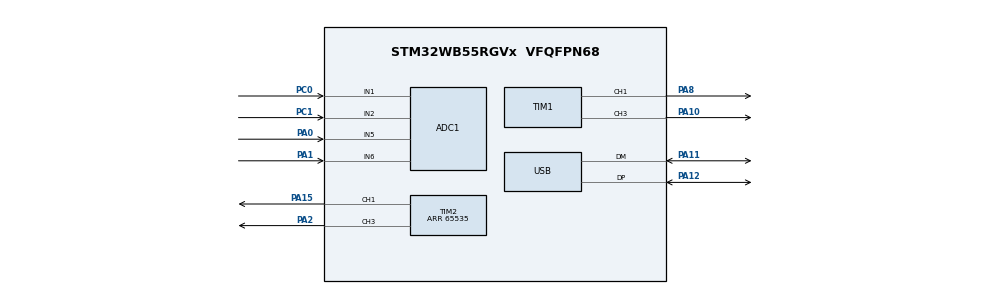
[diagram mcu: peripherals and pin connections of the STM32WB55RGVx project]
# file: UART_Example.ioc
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ADC1.Channel-1\#ChannelRegularConversion=ADC_CHANNEL_1
ADC1.Channel-2\#ChannelRegularConversion=ADC_CHANNEL_2
ADC1.Channel-3\#ChannelRegularConversion=ADC_CHANNEL_5
ADC1.Channel-4\#ChannelRegularConversion=ADC_CHANNEL_6
ADC1.ContinuousConvMode=DISABLE
ADC1.DataAlign=ADC_DATAALIGN_RIGHT
ADC1.NbrOfConversion=4
ADC1.NbrOfConversionFlag=1
ADC1.OffsetNumber-1\#ChannelRegularConversion=ADC_OFFSET_NONE
ADC1.OffsetNumber-2\#ChannelRegularConversion=ADC_OFFSET_NONE
ADC1.OffsetNumber-3\#ChannelRegularConversion=ADC_OFFSET_NONE
ADC1.OffsetNumber-4\#ChannelRegularConversion=ADC_OFFSET_NONE
ADC1.Rank-1\#ChannelRegularConversion=1
ADC1.Rank-2\#ChannelRegularConversion=2
ADC1.Rank-3\#ChannelRegularConversion=3
ADC1.Rank-4\#ChannelRegularConversion=4
ADC1.SamplingTime-1\#ChannelRegularConversion=ADC_SAMPLETIME_640CYCLES_5
ADC1.SamplingTime-2\#ChannelRegularConversion=ADC_SAMPLETIME_640CYCLES_5
ADC1.SamplingTime-3\#ChannelRegularConversion=ADC_SAMPLETIME_640CYCLES_5
ADC1.SamplingTime-4\#ChannelRegularConversion=ADC_SAMPLETIME_640CYCLES_5
ADC1.master=1
Mcu.Family=STM32WB
Mcu.Name=STM32WB55RGVx
Mcu.Package=VFQFPN68
NVIC.ADC1_IRQn=true\:1\:0\:true\:false\:true\:true\:true\:true
NVIC.PriorityGroup=NVIC_PRIORITYGROUP_4
NVIC.RCC_IRQn=true\:0\:0\:false\:false\:true\:true\:false\:true
NVIC.USB_HP_IRQn=true\:0\:0\:false\:false\:true\:true\:true\:true
NVIC.USB_LP_IRQn=true\:0\:0\:false\:false\:true\:true\:true\:true
OSC_IN.Mode=HSE-External-Oscillator
OSC_IN.Signal=RCC_OSC_IN
OSC_OUT.Mode=HSE-External-Oscillator
OSC_OUT.Signal=RCC_OSC_OUT
PA0.Signal=ADCx_IN5
PA1.Signal=ADCx_IN6
PA10.Signal=S_TIM1_CH3
PA11.Mode=Device
PA11.Signal=USB_DM
PA12.Mode=Device
PA12.Signal=USB_DP
PA15.Signal=S_TIM2_CH1
PA2.Signal=S_TIM2_CH3
PA8.Signal=S_TIM1_CH1
PC0.Signal=ADCx_IN1
PC1.Signal=ADCx_IN2
ProjectManager.HeapSize=0x200
ProjectManager.StackSize=0x400
ProjectManager.TargetToolchain=STM32CubeIDE
RCC.ADCFreq_Value=48000000
RCC.AHB2CLKDivider=RCC_SYSCLK_DIV2
RCC.AHBFreq_Value=64000000
RCC.APB1Freq_Value=64000000
RCC.APB1TimFreq_Value=64000000
RCC.APB2Freq_Value=64000000
RCC.APB2TimFreq_Value=64000000
RCC.APB3Freq_Value=4000000
RCC.Cortex2_Div=SYSTICK_CLKSOURCE_HCLK_DIV8
RCC.CortexFreq_Value=64000000
RCC.HCLKFreq_Value=64000000
RCC.HSE_VALUE=8000000
RCC.HSI48_VALUE=48000000
RCC.HSI_VALUE=16000000
RCC.LSE_VALUE=32768
RCC.PLLN=32
RCC.PLLSAI1N=24
RCC.SMPSCLockSelection=RCC_SMPSCLKSOURCE_HSE
RCC.SMPSDivider=1
RCC.SYSCLKFreq_VALUE=64000000
RCC.SYSCLKSource=RCC_SYSCLKSOURCE_PLLCLK
RCC.USBFreq_Value=48000000
RCC.VCOOutputFreq_Value=128000000
SH.ADCx_IN1.0=ADC1_IN1,IN1-Single-Ended
SH.ADCx_IN2.0=ADC1_IN2,IN2-Single-Ended
SH.ADCx_IN5.0=ADC1_IN5,IN5-Single-Ended
SH.ADCx_IN6.0=ADC1_IN6,IN6-Single-Ended
SH.S_TIM1_CH1.0=TIM1_CH1,PWM Generation1 CH1
SH.S_TIM1_CH3.0=TIM1_CH3,PWM Generation3 CH3
SH.S_TIM2_CH1.0=TIM2_CH1,PWM Generation1 CH1
SH.S_TIM2_CH3.0=TIM2_CH3,PWM Generation3 CH3
TIM1.Channel-PWM\ Generation1\ CH1=TIM_CHANNEL_1
TIM1.Channel-PWM\ Generation3\ CH3=TIM_CHANNEL_3
TIM2.Channel-PWM\ Generation1\ CH1=TIM_CHANNEL_1
TIM2.Channel-PWM\ Generation3\ CH3=TIM_CHANNEL_3
TIM2.Period=65535
USB_DEVICE.CLASS_NAME_FS=CDC
USB_DEVICE.VirtualMode=Cdc
USB_DEVICE.VirtualModeFS=Cdc_FS
VP_MEMORYMAP_VS_MEMORYMAP.Mode=CurAppReg
VP_TIM1_VS_ClockSourceINT.Mode=Internal
VP_TIM2_VS_ClockSourceINT.Mode=Internal
VP_USB_DEVICE_VS_USB_DEVICE_CDC_FS.Mode=CDC_FS
board=custom

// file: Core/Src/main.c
/* USER CODE BEGIN Header */
/**
  ******************************************************************************
  * @file           : main.c
  * @brief          : Main program body
  ******************************************************************************
  * @attention
  *
  * Copyright (c) 2025 STMicroelectronics.
  * All rights reserved.
  *
  * This software is licensed under terms that can be found in the LICENSE file
  * in the root directory of this software component.
  * If no LICENSE file comes with this software, it is provided AS-IS.
  *
  ******************************************************************************
  */
/* USER CODE END Header */
#include "main.h"
#include "usb_device.h"

/* USER CODE BEGIN Includes */

#include "usbd_cdc_if.h"
/* USER CODE END Includes */

ADC_HandleTypeDef hadc1;

TIM_HandleTypeDef htim1;
TIM_HandleTypeDef htim2;

/* USER CODE BEGIN PV */
uint16_t force= 0;
uint16_t adc_ch0, adc_ch1, adc_ch2, adc_ch3;
/* USER CODE END PV */

void SystemClock_Config(void);
void PeriphCommonClock_Config(void);
static void MX_GPIO_Init(void);
static void MX_TIM1_Init(void);
static void MX_ADC1_Init(void);
static void MX_TIM2_Init(void);

/* USER CODE BEGIN 0 */
uint8_t ConvCompleted = 0;
void HAL_ADC_ConvCpltCallback(ADC_HandleTypeDef *hadc)
{
	ConvCompleted = 1;
}
/* USER CODE END 0 */

int main(void)
{

  /* MCU Configuration--------------------------------------------------------*/

  /* Reset of all peripherals, Initializes the Flash interface and the Systick. */
  HAL_Init();

  /* Configure the system clock */
  SystemClock_Config();

  /* Configure the peripherals common clocks */
  PeriphCommonClock_Config();

  /* Initialize all configured peripherals */
  MX_GPIO_Init();
  MX_USB_Device_Init();
  MX_TIM1_Init();
  MX_ADC1_Init();
  MX_TIM2_Init();
  /* USER CODE BEGIN 2 */
  HAL_TIM_PWM_Start(&htim1, TIM_CHANNEL_1);
  HAL_TIM_PWM_Start(&htim1, TIM_CHANNEL_3);
  HAL_TIM_PWM_Start(&htim2, TIM_CHANNEL_1);
  HAL_TIM_PWM_Start(&htim2, TIM_CHANNEL_3);

  /* USER CODE END 2 */

  /* Infinite loop */
  while (1)
  {

    /* USER CODE BEGIN 3 */
	  // Fake sensor value 0–19
//		uint16_t sensor_value = rand() % 20;

	  HAL_ADC_Start(&hadc1);

	      // CH0 (PC0)
	      HAL_ADC_PollForConversion(&hadc1, HAL_MAX_DELAY);
	      adc_ch0 = HAL_ADC_GetValue(&hadc1);

	      // CH1 (PC1)
	      HAL_ADC_PollForConversion(&hadc1, HAL_MAX_DELAY);
	      adc_ch1 = HAL_ADC_GetValue(&hadc1);

	      // CH2 (PA0)
	      HAL_ADC_PollForConversion(&hadc1, HAL_MAX_DELAY);
	      adc_ch2 = HAL_ADC_GetValue(&hadc1);

	      // CH3 (PA1)
	      HAL_ADC_PollForConversion(&hadc1, HAL_MAX_DELAY);
	      adc_ch3 = HAL_ADC_GetValue(&hadc1);

	      HAL_ADC_Stop(&hadc1);
	      char buffer[100];
	          int len = sprintf(buffer,
	                            "C0=%u  C1=%u  C2=%u  C3=%u\r\n",
	                            adc_ch0, adc_ch1, adc_ch2, adc_ch3);
	          CDC_Transmit_FS((uint8_t*)buffer, len);

	          // Map one channel (example: PC0 → your LED)
	          uint16_t pwm_value = (uint16_t)(((float)(adc_ch0 - 2000) / (4095.0f - 2000.0f)) * 65535.0f);
	          uint16_t pwm_value1 = (uint16_t)(((float)(adc_ch1 - 2000) / (4095.0f - 2000.0f)) * 65535.0f);
	          uint16_t pwm_value2 = (uint16_t)(((float)(adc_ch2 - 2000) / (4095.0f - 2000.0f)) * 65535.0f);
	          uint16_t pwm_value3 = (uint16_t)(((float)(adc_ch3 - 2000) / (4095.0f - 2000.0f)) * 65535.0f);
	          __HAL_TIM_SET_COMPARE(&htim1, TIM_CHANNEL_1, pwm_value);
	          __HAL_TIM_SET_COMPARE(&htim1, TIM_CHANNEL_3, pwm_value1);
	          __HAL_TIM_SET_COMPARE(&htim2, TIM_CHANNEL_1, pwm_value2);
	          __HAL_TIM_SET_COMPARE(&htim2, TIM_CHANNEL_3, pwm_value3);

	          HAL_Delay(200);

//	 HAL_Delay(100);
//	  HAL_ADC_Start(&hadc1);
//	  HAL_ADC_PollForConversion(&hadc1, HAL_MAX_DELAY);
//	  force = HAL_ADC_GetValue(&hadc1);
//	  // Send via USB
//	  char buffer[20];
//	  int len = sprintf(buffer, "%u\r\n", force);
//	  CDC_Transmit_FS((uint8_t*)buffer, len);
//
//	  // map sensor_value (0–19) → PWM (0–65535)
//	  uint16_t pwm_value = (uint16_t)(((float)force / 4095.0f) * 65535.0f);
//
//	  // Update PWM
//	  __HAL_TIM_SET_COMPARE(&htim1, TIM_CHANNEL_1, pwm_value);
//	  HAL_Delay(500);

  }
  /* USER CODE END 3 */
}

void SystemClock_Config(void)
{
  RCC_OscInitTypeDef RCC_OscInitStruct = {0};
  RCC_ClkInitTypeDef RCC_ClkInitStruct = {0};

  /** Configure the main internal regulator output voltage
  */
  __HAL_PWR_VOLTAGESCALING_CONFIG(PWR_REGULATOR_VOLTAGE_SCALE1);

  /** Initializes the RCC Oscillators according to the specified parameters
  * in the RCC_OscInitTypeDef structure.
  */
  RCC_OscInitStruct.OscillatorType = RCC_OSCILLATORTYPE_HSI|RCC_OSCILLATORTYPE_HSE
                              |RCC_OSCILLATORTYPE_LSE|RCC_OSCILLATORTYPE_MSI;
  RCC_OscInitStruct.HSEState = RCC_HSE_ON;
  RCC_OscInitStruct.LSEState = RCC_LSE_OFF;
  RCC_OscInitStruct.HSIState = RCC_HSI_ON;
  RCC_OscInitStruct.MSIState = RCC_MSI_ON;
  RCC_OscInitStruct.HSICalibrationValue = RCC_HSICALIBRATION_DEFAULT;
  RCC_OscInitStruct.MSICalibrationValue = RCC_MSICALIBRATION_DEFAULT;
  RCC_OscInitStruct.MSIClockRange = RCC_MSIRANGE_6;
  RCC_OscInitStruct.PLL.PLLState = RCC_PLL_ON;
  RCC_OscInitStruct.PLL.PLLSource = RCC_PLLSOURCE_MSI;
  RCC_OscInitStruct.PLL.PLLM = RCC_PLLM_DIV1;
  RCC_OscInitStruct.PLL.PLLN = 32;
  RCC_OscInitStruct.PLL.PLLP = RCC_PLLP_DIV2;
  RCC_OscInitStruct.PLL.PLLR = RCC_PLLR_DIV2;
  RCC_OscInitStruct.PLL.PLLQ = RCC_PLLQ_DIV2;
  if (HAL_RCC_OscConfig(&RCC_OscInitStruct) != HAL_OK)
  {
    Error_Handler();
  }

  /** Configure the SYSCLKSource, HCLK, PCLK1 and PCLK2 clocks dividers
  */
  RCC_ClkInitStruct.ClockType = RCC_CLOCKTYPE_HCLK4|RCC_CLOCKTYPE_HCLK2
                              |RCC_CLOCKTYPE_HCLK|RCC_CLOCKTYPE_SYSCLK
                              |RCC_CLOCKTYPE_PCLK1|RCC_CLOCKTYPE_PCLK2;
  RCC_ClkInitStruct.SYSCLKSource = RCC_SYSCLKSOURCE_PLLCLK;
  RCC_ClkInitStruct.AHBCLKDivider = RCC_SYSCLK_DIV1;
  RCC_ClkInitStruct.APB1CLKDivider = RCC_HCLK_DIV1;
  RCC_ClkInitStruct.APB2CLKDivider = RCC_HCLK_DIV1;
  RCC_ClkInitStruct.AHBCLK2Divider = RCC_SYSCLK_DIV2;
  RCC_ClkInitStruct.AHBCLK4Divider = RCC_SYSCLK_DIV1;

  if (HAL_RCC_ClockConfig(&RCC_ClkInitStruct, FLASH_LATENCY_3) != HAL_OK)
  {
    Error_Handler();
  }

  /** Enable MSI Auto calibration
  */
  HAL_RCCEx_EnableMSIPLLMode();
}

void PeriphCommonClock_Config(void)
{
  RCC_PeriphCLKInitTypeDef PeriphClkInitStruct = {0};

  /** Initializes the peripherals clock
  */
  PeriphClkInitStruct.PeriphClockSelection = RCC_PERIPHCLK_SMPS|RCC_PERIPHCLK_USB
                              |RCC_PERIPHCLK_ADC;
  PeriphClkInitStruct.PLLSAI1.PLLN = 24;
  PeriphClkInitStruct.PLLSAI1.PLLP = RCC_PLLP_DIV2;
  PeriphClkInitStruct.PLLSAI1.PLLQ = RCC_PLLQ_DIV2;
  PeriphClkInitStruct.PLLSAI1.PLLR = RCC_PLLR_DIV2;
  PeriphClkInitStruct.PLLSAI1.PLLSAI1ClockOut = RCC_PLLSAI1_USBCLK|RCC_PLLSAI1_ADCCLK;
  PeriphClkInitStruct.UsbClockSelection = RCC_USBCLKSOURCE_PLLSAI1;
  PeriphClkInitStruct.AdcClockSelection = RCC_ADCCLKSOURCE_PLLSAI1;
  PeriphClkInitStruct.SmpsClockSelection = RCC_SMPSCLKSOURCE_HSE;
  if (HAL_RCCEx_PeriphCLKConfig(&PeriphClkInitStruct) != HAL_OK)
  {
    Error_Handler();
  }
}

static void MX_ADC1_Init(void)
{

  ADC_ChannelConfTypeDef sConfig = {0};

  /** Common config
  */
  hadc1.Instance = ADC1;
  hadc1.Init.ClockPrescaler = ADC_CLOCK_ASYNC_DIV1;
  hadc1.Init.Resolution = ADC_RESOLUTION_12B;
  hadc1.Init.DataAlign = ADC_DATAALIGN_RIGHT;
  hadc1.Init.ScanConvMode = ADC_SCAN_ENABLE;
  hadc1.Init.EOCSelection = ADC_EOC_SINGLE_CONV;
  hadc1.Init.LowPowerAutoWait = DISABLE;
  hadc1.Init.ContinuousConvMode = DISABLE;
  hadc1.Init.NbrOfConversion = 4;
  hadc1.Init.DiscontinuousConvMode = DISABLE;
  hadc1.Init.ExternalTrigConv = ADC_SOFTWARE_START;
  hadc1.Init.ExternalTrigConvEdge = ADC_EXTERNALTRIGCONVEDGE_NONE;
  hadc1.Init.DMAContinuousRequests = DISABLE;
  hadc1.Init.Overrun = ADC_OVR_DATA_PRESERVED;
  hadc1.Init.OversamplingMode = DISABLE;
  if (HAL_ADC_Init(&hadc1) != HAL_OK)
  {
    Error_Handler();
  }

  /** Configure Regular Channel
  */
  sConfig.Channel = ADC_CHANNEL_1;
  sConfig.Rank = ADC_REGULAR_RANK_1;
  sConfig.SamplingTime = ADC_SAMPLETIME_640CYCLES_5;
  sConfig.SingleDiff = ADC_SINGLE_ENDED;
  sConfig.OffsetNumber = ADC_OFFSET_NONE;
  sConfig.Offset = 0;
  if (HAL_ADC_ConfigChannel(&hadc1, &sConfig) != HAL_OK)
  {
    Error_Handler();
  }

  /** Configure Regular Channel
  */
  sConfig.Channel = ADC_CHANNEL_2;
  sConfig.Rank = ADC_REGULAR_RANK_2;
  if (HAL_ADC_ConfigChannel(&hadc1, &sConfig) != HAL_OK)
  {
    Error_Handler();
  }

  /** Configure Regular Channel
  */
  sConfig.Channel = ADC_CHANNEL_5;
  sConfig.Rank = ADC_REGULAR_RANK_3;
  if (HAL_ADC_ConfigChannel(&hadc1, &sConfig) != HAL_OK)
  {
    Error_Handler();
  }

  /** Configure Regular Channel
  */
  sConfig.Channel = ADC_CHANNEL_6;
  sConfig.Rank = ADC_REGULAR_RANK_4;
  if (HAL_ADC_ConfigChannel(&hadc1, &sConfig) != HAL_OK)
  {
    Error_Handler();
  }

}

static void MX_TIM1_Init(void)
{

  TIM_ClockConfigTypeDef sClockSourceConfig = {0};
  TIM_MasterConfigTypeDef sMasterConfig = {0};
  TIM_OC_InitTypeDef sConfigOC = {0};
  TIM_BreakDeadTimeConfigTypeDef sBreakDeadTimeConfig = {0};

  htim1.Instance = TIM1;
  htim1.Init.Prescaler = 0;
  htim1.Init.CounterMode = TIM_COUNTERMODE_UP;
  htim1.Init.Period = 65535;
  htim1.Init.ClockDivision = TIM_CLOCKDIVISION_DIV1;
  htim1.Init.RepetitionCounter = 0;
  htim1.Init.AutoReloadPreload = TIM_AUTORELOAD_PRELOAD_DISABLE;
  if (HAL_TIM_Base_Init(&htim1) != HAL_OK)
  {
    Error_Handler();
  }
  sClockSourceConfig.ClockSource = TIM_CLOCKSOURCE_INTERNAL;
  if (HAL_TIM_ConfigClockSource(&htim1, &sClockSourceConfig) != HAL_OK)
  {
    Error_Handler();
  }
  if (HAL_TIM_PWM_Init(&htim1) != HAL_OK)
  {
    Error_Handler();
  }
  sMasterConfig.MasterOutputTrigger = TIM_TRGO_RESET;
  sMasterConfig.MasterOutputTrigger2 = TIM_TRGO2_RESET;
  sMasterConfig.MasterSlaveMode = TIM_MASTERSLAVEMODE_DISABLE;
  if (HAL_TIMEx_MasterConfigSynchronization(&htim1, &sMasterConfig) != HAL_OK)
  {
    Error_Handler();
  }
  sConfigOC.OCMode = TIM_OCMODE_PWM1;
  sConfigOC.Pulse = 0;
  sConfigOC.OCPolarity = TIM_OCPOLARITY_HIGH;
  sConfigOC.OCNPolarity = TIM_OCNPOLARITY_HIGH;
  sConfigOC.OCFastMode = TIM_OCFAST_DISABLE;
  sConfigOC.OCIdleState = TIM_OCIDLESTATE_RESET;
  sConfigOC.OCNIdleState = TIM_OCNIDLESTATE_RESET;
  if (HAL_TIM_PWM_ConfigChannel(&htim1, &sConfigOC, TIM_CHANNEL_1) != HAL_OK)
  {
    Error_Handler();
  }
  if (HAL_TIM_PWM_ConfigChannel(&htim1, &sConfigOC, TIM_CHANNEL_3) != HAL_OK)
  {
    Error_Handler();
  }
  sBreakDeadTimeConfig.OffStateRunMode = TIM_OSSR_DISABLE;
  sBreakDeadTimeConfig.OffStateIDLEMode = TIM_OSSI_DISABLE;
  sBreakDeadTimeConfig.LockLevel = TIM_LOCKLEVEL_OFF;
  sBreakDeadTimeConfig.DeadTime = 0;
  sBreakDeadTimeConfig.BreakState = TIM_BREAK_DISABLE;
  sBreakDeadTimeConfig.BreakPolarity = TIM_BREAKPOLARITY_HIGH;
  sBreakDeadTimeConfig.BreakFilter = 0;
  sBreakDeadTimeConfig.BreakAFMode = TIM_BREAK_AFMODE_INPUT;
  sBreakDeadTimeConfig.Break2State = TIM_BREAK2_DISABLE;
  sBreakDeadTimeConfig.Break2Polarity = TIM_BREAK2POLARITY_HIGH;
  sBreakDeadTimeConfig.Break2Filter = 0;
  sBreakDeadTimeConfig.Break2AFMode = TIM_BREAK_AFMODE_INPUT;
  sBreakDeadTimeConfig.AutomaticOutput = TIM_AUTOMATICOUTPUT_DISABLE;
  if (HAL_TIMEx_ConfigBreakDeadTime(&htim1, &sBreakDeadTimeConfig) != HAL_OK)
  {
    Error_Handler();
  }
  HAL_TIM_MspPostInit(&htim1);

}

static void MX_TIM2_Init(void)
{

  TIM_ClockConfigTypeDef sClockSourceConfig = {0};
  TIM_MasterConfigTypeDef sMasterConfig = {0};
  TIM_OC_InitTypeDef sConfigOC = {0};

  htim2.Instance = TIM2;
  htim2.Init.Prescaler = 0;
  htim2.Init.CounterMode = TIM_COUNTERMODE_UP;
  htim2.Init.Period = 65535;
  htim2.Init.ClockDivision = TIM_CLOCKDIVISION_DIV1;
  htim2.Init.AutoReloadPreload = TIM_AUTORELOAD_PRELOAD_DISABLE;
  if (HAL_TIM_Base_Init(&htim2) != HAL_OK)
  {
    Error_Handler();
  }
  sClockSourceConfig.ClockSource = TIM_CLOCKSOURCE_INTERNAL;
  if (HAL_TIM_ConfigClockSource(&htim2, &sClockSourceConfig) != HAL_OK)
  {
    Error_Handler();
  }
  if (HAL_TIM_PWM_Init(&htim2) != HAL_OK)
  {
    Error_Handler();
  }
  sMasterConfig.MasterOutputTrigger = TIM_TRGO_RESET;
  sMasterConfig.MasterSlaveMode = TIM_MASTERSLAVEMODE_DISABLE;
  if (HAL_TIMEx_MasterConfigSynchronization(&htim2, &sMasterConfig) != HAL_OK)
  {
    Error_Handler();
  }
  sConfigOC.OCMode = TIM_OCMODE_PWM1;
  sConfigOC.Pulse = 0;
  sConfigOC.OCPolarity = TIM_OCPOLARITY_HIGH;
  sConfigOC.OCFastMode = TIM_OCFAST_DISABLE;
  if (HAL_TIM_PWM_ConfigChannel(&htim2, &sConfigOC, TIM_CHANNEL_1) != HAL_OK)
  {
    Error_Handler();
  }
  if (HAL_TIM_PWM_ConfigChannel(&htim2, &sConfigOC, TIM_CHANNEL_3) != HAL_OK)
  {
    Error_Handler();
  }
  HAL_TIM_MspPostInit(&htim2);

}

static void MX_GPIO_Init(void)
{

  /* GPIO Ports Clock Enable */
  __HAL_RCC_GPIOC_CLK_ENABLE();
  __HAL_RCC_GPIOA_CLK_ENABLE();

}

void Error_Handler(void)
{
  __disable_irq();
  while (1)
  {
  }
}
